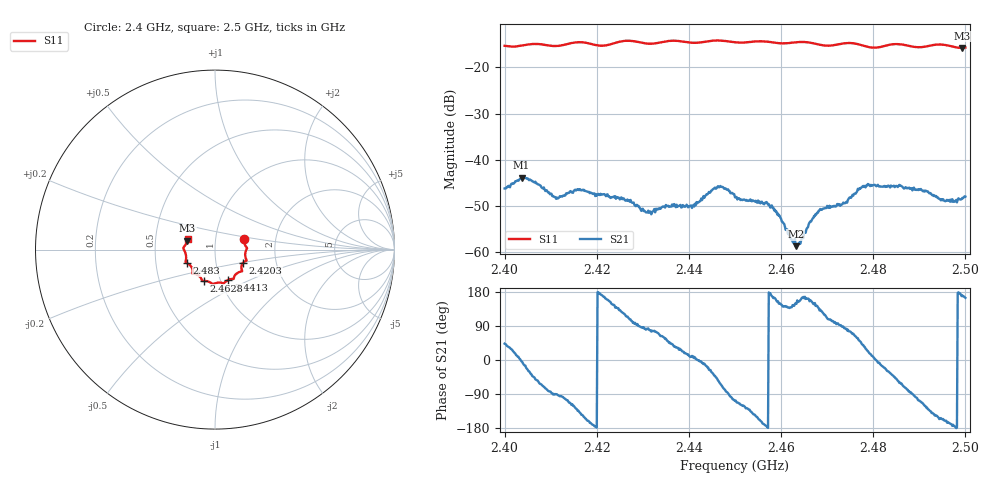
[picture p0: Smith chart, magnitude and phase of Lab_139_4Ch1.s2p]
# Hz S RI R 50
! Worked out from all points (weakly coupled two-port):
!   601 points, 2.4 GHz to 2.5 GHz, reference 50 ohm
!   highest |S21| = -43.88 dB at 2.4037 GHz (marker M1); lowest = -58.7 dB at 2.4632 GHz (marker M2)
!   lowest |S11| = -15.8 dB at 2.4993 GHz (marker M3), VSWR 1.39, Z = 36.5 + j3.71 ohm
!   |S11| at or under -10 dB: start of sweep to end of sweep
!   S12 and S22 are empty: the file has one direction only
!   S11 on the Smith chart (normalised r, x): 2.4 GHz: 1.37, +0.16; 2.4203 GHz: 1.35, -0.21; 2.4413 GHz: 1.09, -0.38; 2.4628 GHz: 0.83, -0.30; 2.483 GHz: 0.72, -0.11; 2.5 GHz: 0.73, +0.09
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2.4e9  0.1608 0.0567  0.00357 0.00336  0 0  0 0
2.403667e9  0.1699 0.0206  0.00638 -0.000403  0 0  0 0
2.411167e9  0.1681 -0.0227  -1.43e-05 -0.0038  0 0  0 0
2.416667e9  0.176 -0.0615  -0.00381 -0.00271  0 0  0 0
2.420333e9  0.1552 -0.0742  -0.00429 8.07e-05  0 0  0 0
2.426833e9  0.1514 -0.1207  -0.00133 0.00334  0 0  0 0
2.430833e9  0.1248 -0.1304  0.000365 0.00268  0 0  0 0
2.433333e9  0.108 -0.1486  0.000979 0.00281  0 0  0 0
2.441333e9  0.0743 -0.1681  0.00333 0.000394  0 0  0 0
2.446667e9  0.0479 -0.1887  0.0025 -0.00441  0 0  0 0
2.45e9  0.0294 -0.1839  -0.00122 -0.00374  0 0  0 0
2.457833e9  -0.0222 -0.1854  -0.00316 0.000492  0 0  0 0
2.462833e9  -0.063 -0.1744  -0.00104 0.000785  0 0  0 0
2.463167e9  -0.0647 -0.1745  -0.00101 0.000584  0 0  0 0
2.464333e9  -0.0697 -0.1745  -0.00126 0.000451  0 0  0 0
2.466667e9  -0.0742 -0.1674  -0.002 0.000976  0 0  0 0
2.477667e9  -0.1245 -0.1191  0.00392 0.00334  0 0  0 0
2.483e9  -0.1548 -0.0766  0.00449 -0.00246  0 0  0 0
2.483333e9  -0.1569 -0.0756  0.00453 -0.00268  0 0  0 0
2.495167e9  -0.1749 0.0119  -0.00342 -0.00154  0 0  0 0
2.499333e9  -0.1544 0.0496  -0.00383 0.000629  0 0  0 0
2.5e9  -0.1527 0.0585  -0.00385 0.0011  0 0  0 0
